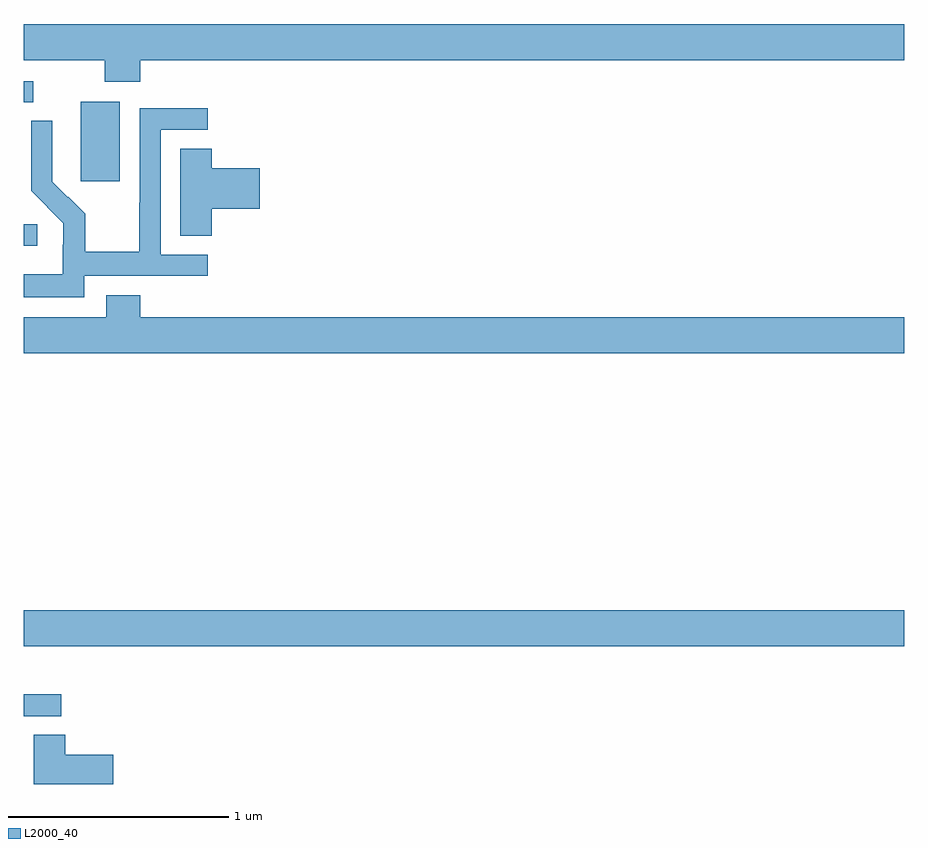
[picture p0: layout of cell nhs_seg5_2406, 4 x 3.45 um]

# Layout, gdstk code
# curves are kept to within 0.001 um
import gdstk
lib = gdstk.Library(unit=1e-6, precision=1e-09)
def R(c, l, rs):  # rectangles x0, y0, x1, y1
    for r in rs: c.add(gdstk.rectangle(r[:2], r[2:], *l))
def P(c, l, *ps):  # polygons
    for p in ps: c.add(gdstk.Polygon(p, *l))
L2000_40 = (2000, 40)

nhs_seg5_2406 = lib.new_cell('nhs_seg5_2406')
R(nhs_seg5_2406, L2000_40, [(251,859.107,251.17,859.206), (251,859.424,255,859.588), (251,861.245,251.062,861.342), (251.258,861.537,251.437,861.898), (251,861.897,251.044,861.993)])
P(nhs_seg5_2406, L2000_40, [(251.528,862.088),(255,862.088),(255,862.252),(251,862.252),(251,862.088),(251.368,862.088),(251.368,861.989),(251.528,861.989)],
  [(251.274,861.108),(251.836,861.108),(251.836,861.204),(251.622,861.204),(251.622,861.771),(251.836,861.771),(251.836,861.87),(251.526,861.87),(251.526,861.44),(251.524,861.44),(251.524,861.217),(251.279,861.217),(251.279,861.391),(251.202,861.468),(251.199,861.465),(251.129,861.536),(251.13,861.812),(251.034,861.812),(251.034,861.494),(251.18,861.346),(251.18,861.249),(251.178,861.249),(251.178,861.115),(251,861.115),(251,861.011),(251.274,861.011)],
  [(251.855,861.413),(252.073,861.413),(252.073,861.596),(251.855,861.596),(251.855,861.686),(251.711,861.686),(251.711,861.289),(251.855,861.289)],
  [(255,860.92),(251.528,860.92),(251.528,861.019),(251.375,861.019),(251.375,860.92),(251,860.92),(251,860.756),(255,860.756)],
  [(251.407,858.932),(251.189,858.932),(251.189,859.022),(251.045,859.022),(251.045,858.799),(251.407,858.799)])

lib.write_gds('nhs_seg5_2406.gds')
